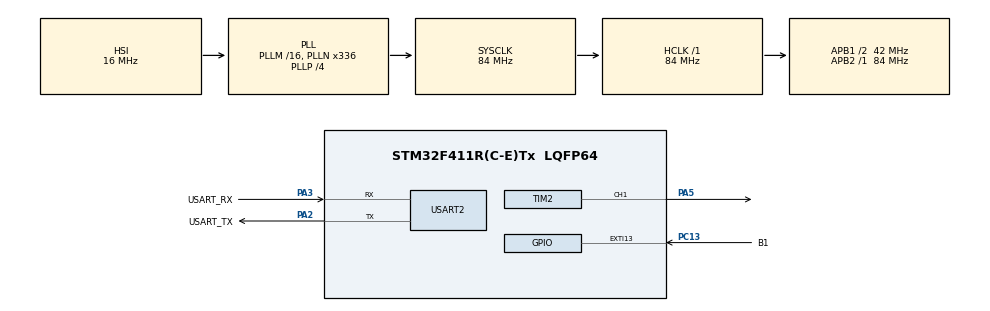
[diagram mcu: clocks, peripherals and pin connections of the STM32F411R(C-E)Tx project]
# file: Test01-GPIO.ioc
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Mcu.Family=STM32F4
Mcu.Name=STM32F411R(C-E)Tx
Mcu.Package=LQFP64
NVIC.EXTI15_10_IRQn=true\:0\:0\:false\:false\:true\:true\:true\:true
NVIC.PriorityGroup=NVIC_PRIORITYGROUP_0
NVIC.TIM3_IRQn=true\:0\:0\:false\:false\:true\:true\:true\:true
PA13.GPIO_Label=TMS
PA13.Mode=Serial_Wire
PA13.Signal=SYS_JTMS-SWDIO
PA14.GPIO_Label=TCK
PA14.Mode=Serial_Wire
PA14.Signal=SYS_JTCK-SWCLK
PA2.GPIO_Label=USART_TX
PA2.Mode=Asynchronous
PA2.Signal=USART2_TX
PA3.GPIO_Label=USART_RX
PA3.Mode=Asynchronous
PA3.Signal=USART2_RX
PA5.Signal=S_TIM2_CH1_ETR
PB3.GPIO_Label=SWO
PB3.Signal=SYS_JTDO-SWO
PC13-ANTI_TAMP.GPIO_Label=B1
PC13-ANTI_TAMP.GPIO_ModeDefaultEXTI=GPIO_MODE_IT_RISING_FALLING
PC13-ANTI_TAMP.Signal=GPXTI13
PC14-OSC32_IN.Mode=LSE-External-Oscillator
PC14-OSC32_IN.Signal=RCC_OSC32_IN
PC15-OSC32_OUT.Mode=LSE-External-Oscillator
PC15-OSC32_OUT.Signal=RCC_OSC32_OUT
PH0\ -\ OSC_IN.Mode=HSE-External-Clock-Source
PH0\ -\ OSC_IN.Signal=RCC_OSC_IN
PH1\ -\ OSC_OUT.Mode=HSE-External-Clock-Source
PH1\ -\ OSC_OUT.Signal=RCC_OSC_OUT
ProjectManager.HeapSize=0x200
ProjectManager.StackSize=0x400
ProjectManager.TargetToolchain=STM32CubeIDE
RCC.48MHZClocksFreq_Value=84000000
RCC.AHBFreq_Value=84000000
RCC.APB1CLKDivider=RCC_HCLK_DIV2
RCC.APB1Freq_Value=42000000
RCC.APB1TimFreq_Value=84000000
RCC.APB2Freq_Value=84000000
RCC.APB2TimFreq_Value=84000000
RCC.CortexFreq_Value=84000000
RCC.FLatency-AdvancedSettings=FLASH_LATENCY_2
RCC.HCLKFreq_Value=84000000
RCC.HSE_VALUE=8000000
RCC.HSI_VALUE=16000000
RCC.PLLN=336
RCC.PLLP=RCC_PLLP_DIV4
RCC.SYSCLKFreq_VALUE=84000000
RCC.SYSCLKSource=RCC_SYSCLKSOURCE_PLLCLK
RCC.VCOOutputFreq_Value=336000000
SH.S_TIM2_CH1_ETR.0=TIM2_CH1,PWM Generation1 CH1
TIM2.Channel-PWM\ Generation1\ CH1=TIM_CHANNEL_1
TIM2.Period=1000-1
TIM2.Prescaler=84-1
TIM3.Period=5000-1
TIM3.Prescaler=8400-1
TIM5.Prescaler=84-1
USART2.VirtualMode=VM_ASYNC
VP_TIM2_VS_ClockSourceINT.Mode=Internal
VP_TIM3_VS_ClockSourceINT.Mode=Internal
VP_TIM5_VS_ClockSourceINT.Mode=Internal
board=NUCLEO-F411RE

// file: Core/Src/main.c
/* USER CODE BEGIN Header */
/**
  ******************************************************************************
  * @file           : main.c
  * @brief          : Main program body
  ******************************************************************************
  * @attention
  *
  * Copyright (c) 2023 STMicroelectronics.
  * All rights reserved.
  *
  * This software is licensed under terms that can be found in the LICENSE file
  * in the root directory of this software component.
  * If no LICENSE file comes with this software, it is provided AS-IS.
  *
  ******************************************************************************
  */
/* USER CODE END Header */
#include "main.h"

TIM_HandleTypeDef htim2;
TIM_HandleTypeDef htim3;
TIM_HandleTypeDef htim5;

UART_HandleTypeDef huart2;

void SystemClock_Config(void);
static void MX_GPIO_Init(void);
static void MX_USART2_UART_Init(void);
static void MX_TIM3_Init(void);
static void MX_TIM5_Init(void);
static void MX_TIM2_Init(void);

/* USER CODE BEGIN 0 */
#define STEP 10
int val = 0; // off
int gap = 0;  //val 값에 따라서 AAR까지 도달하는 단계값
int flag = 1; // status 0~4
void HAL_GPIO_EXTI_Callback(uint16_t GPIO_Pin)
{
  //val = HAL_GPIO_ReadPin(B1_GPIO_Port,B1_Pin); // push? non-push?
  if(val++ > STEP) val=0;
  //if(val==0) val=0; else val = 1;
   //if(val == 0) val =1; else val = 0;
 // val++;
  // if(val++ >4) val =0; // val 0~5
 // flag=1;
}
int cnt=0;
void HAL_TIM_PeriodElapsedCallback(TIM_HandleTypeDef *htim)
{
  //HAL_GPIO_TogglePin(LD2_GPIO_Port, LD2_Pin);
  printf("\033[10;30HTimer3...%d\n", cnt++); // whenever interrupt is begin
  //myDelay(10000);
  //HAL_Delay(200);
  //HAL_GPIO_WritePin(LD2_GPIO_Port, LD2_Pin,0);
}

void myDelay(int interval) // microsecond delay, interval: microsecond
{
  //volatile int start = htim5.Instance -> CNT;
  htim5.Instance -> CNT=0;
  while(1)
  {
    volatile int cur = htim5.Instance -> CNT;
    //int cur = htim5.Instance -> CNT; // 4000/60 = 1 hour
    if(htim5.Instance -> CNT> interval) return; // ~~delay
  }
  //return;
}

int __io_putchar(int ch)
{
  HAL_UART_Transmit(&huart2, &ch, 1, 10);
  //HAL_StatusTypeDef HAL_UART_Transmit(UART_HandleTypeDef *huart, const uint8_t *pData, uint16_t Size, uint32_t Timeout)
  return ch;
}

//int __io_getchar(void);

/* USER CODE END 0 */

int main(void)
{

  /* MCU Configuration--------------------------------------------------------*/

  /* Reset of all peripherals, Initializes the Flash interface and the Systick. */
  HAL_Init();

  /* Configure the system clock */
  SystemClock_Config();

  /* Initialize all configured peripherals */
  MX_GPIO_Init();
  MX_USART2_UART_Init();
  MX_TIM3_Init();
  MX_TIM5_Init();
  MX_TIM2_Init();
  /* USER CODE BEGIN 2 */

  printf("\033[1JProgram started...!\r\n",0x1b);
 // HAL_TIM_Base_Start_IT(&htim3);
  gap = htim2.Instance->ARR/STEP; // STEP =10 상수를 프로그램 안으로 들어가지 않게 하는 게 좋음. 유지보수할때
 HAL_TIM_Base_Start(&htim5);
  HAL_TIM_PWM_Start(&htim2,TIM_CHANNEL_1);
  /* USER CODE END 2 */

  /* Infinite loop */
  /* USER CODE BEGIN WHILE */
  int ccr =0;

  while (1)
  {
    /* USER CODE END WHILE */

    /* USER CODE BEGIN 3 */

    htim2.Instance->CCR1= val*gap;
    //if(val>STEP) val =0;
    //if(ccr > htim2.Instance->ARR) ccr =0;
    //myDelay(10000);
    //myDelay(2000000);
    //int r = HAL_GPIO_ReadPin(B1_GPIO_Port,B1_Pin);
    //if(val == 0) for (int i=0; i<val;i++)//button pushed
   // {
  // HAL_GPIO_TogglePin(LD2_GPIO_Port,LD2_Pin); //led on
   // HAL_Delay(200); //1sec 3
  // HAL_GPIO_WritePin(LD2_GPIO_Port,LD2_Pin,0); //led off
  //  HAL_Delay(200);
  // flag = 0;
  //  }
  // else
  //  HAL_GPIO_WritePin(LD2_GPIO_Port,LD2_Pin,0);

  }
  /* USER CODE END 3 */
}

void SystemClock_Config(void)
{
  RCC_OscInitTypeDef RCC_OscInitStruct = {0};
  RCC_ClkInitTypeDef RCC_ClkInitStruct = {0};

  /** Configure the main internal regulator output voltage
  */
  __HAL_RCC_PWR_CLK_ENABLE();
  __HAL_PWR_VOLTAGESCALING_CONFIG(PWR_REGULATOR_VOLTAGE_SCALE1);

  /** Initializes the RCC Oscillators according to the specified parameters
  * in the RCC_OscInitTypeDef structure.
  */
  RCC_OscInitStruct.OscillatorType = RCC_OSCILLATORTYPE_HSI;
  RCC_OscInitStruct.HSIState = RCC_HSI_ON;
  RCC_OscInitStruct.HSICalibrationValue = RCC_HSICALIBRATION_DEFAULT;
  RCC_OscInitStruct.PLL.PLLState = RCC_PLL_ON;
  RCC_OscInitStruct.PLL.PLLSource = RCC_PLLSOURCE_HSI;
  RCC_OscInitStruct.PLL.PLLM = 16;
  RCC_OscInitStruct.PLL.PLLN = 336;
  RCC_OscInitStruct.PLL.PLLP = RCC_PLLP_DIV4;
  RCC_OscInitStruct.PLL.PLLQ = 4;
  if (HAL_RCC_OscConfig(&RCC_OscInitStruct) != HAL_OK)
  {
    Error_Handler();
  }

  /** Initializes the CPU, AHB and APB buses clocks
  */
  RCC_ClkInitStruct.ClockType = RCC_CLOCKTYPE_HCLK|RCC_CLOCKTYPE_SYSCLK
                              |RCC_CLOCKTYPE_PCLK1|RCC_CLOCKTYPE_PCLK2;
  RCC_ClkInitStruct.SYSCLKSource = RCC_SYSCLKSOURCE_PLLCLK;
  RCC_ClkInitStruct.AHBCLKDivider = RCC_SYSCLK_DIV1;
  RCC_ClkInitStruct.APB1CLKDivider = RCC_HCLK_DIV2;
  RCC_ClkInitStruct.APB2CLKDivider = RCC_HCLK_DIV1;

  if (HAL_RCC_ClockConfig(&RCC_ClkInitStruct, FLASH_LATENCY_2) != HAL_OK)
  {
    Error_Handler();
  }
}

static void MX_TIM2_Init(void)
{

  TIM_ClockConfigTypeDef sClockSourceConfig = {0};
  TIM_MasterConfigTypeDef sMasterConfig = {0};
  TIM_OC_InitTypeDef sConfigOC = {0};

  htim2.Instance = TIM2;
  htim2.Init.Prescaler = 84-1;
  htim2.Init.CounterMode = TIM_COUNTERMODE_UP;
  htim2.Init.Period = 1000;
  htim2.Init.ClockDivision = TIM_CLOCKDIVISION_DIV1;
  htim2.Init.AutoReloadPreload = TIM_AUTORELOAD_PRELOAD_DISABLE;
  if (HAL_TIM_Base_Init(&htim2) != HAL_OK)
  {
    Error_Handler();
  }
  sClockSourceConfig.ClockSource = TIM_CLOCKSOURCE_INTERNAL;
  if (HAL_TIM_ConfigClockSource(&htim2, &sClockSourceConfig) != HAL_OK)
  {
    Error_Handler();
  }
  if (HAL_TIM_PWM_Init(&htim2) != HAL_OK)
  {
    Error_Handler();
  }
  sMasterConfig.MasterOutputTrigger = TIM_TRGO_RESET;
  sMasterConfig.MasterSlaveMode = TIM_MASTERSLAVEMODE_DISABLE;
  if (HAL_TIMEx_MasterConfigSynchronization(&htim2, &sMasterConfig) != HAL_OK)
  {
    Error_Handler();
  }
  sConfigOC.OCMode = TIM_OCMODE_PWM1;
  sConfigOC.Pulse = 0;
  sConfigOC.OCPolarity = TIM_OCPOLARITY_HIGH;
  sConfigOC.OCFastMode = TIM_OCFAST_DISABLE;
  if (HAL_TIM_PWM_ConfigChannel(&htim2, &sConfigOC, TIM_CHANNEL_1) != HAL_OK)
  {
    Error_Handler();
  }
  HAL_TIM_MspPostInit(&htim2);

}

static void MX_TIM3_Init(void)
{

  TIM_ClockConfigTypeDef sClockSourceConfig = {0};
  TIM_MasterConfigTypeDef sMasterConfig = {0};

  htim3.Instance = TIM3;
  htim3.Init.Prescaler = 8400-1;
  htim3.Init.CounterMode = TIM_COUNTERMODE_UP;
  htim3.Init.Period = 5000-1;
  htim3.Init.ClockDivision = TIM_CLOCKDIVISION_DIV1;
  htim3.Init.AutoReloadPreload = TIM_AUTORELOAD_PRELOAD_DISABLE;
  if (HAL_TIM_Base_Init(&htim3) != HAL_OK)
  {
    Error_Handler();
  }
  sClockSourceConfig.ClockSource = TIM_CLOCKSOURCE_INTERNAL;
  if (HAL_TIM_ConfigClockSource(&htim3, &sClockSourceConfig) != HAL_OK)
  {
    Error_Handler();
  }
  sMasterConfig.MasterOutputTrigger = TIM_TRGO_RESET;
  sMasterConfig.MasterSlaveMode = TIM_MASTERSLAVEMODE_DISABLE;
  if (HAL_TIMEx_MasterConfigSynchronization(&htim3, &sMasterConfig) != HAL_OK)
  {
    Error_Handler();
  }

}

static void MX_TIM5_Init(void)
{

  TIM_ClockConfigTypeDef sClockSourceConfig = {0};
  TIM_MasterConfigTypeDef sMasterConfig = {0};

  htim5.Instance = TIM5;
  htim5.Init.Prescaler = 84-1;
  htim5.Init.CounterMode = TIM_COUNTERMODE_UP;
  htim5.Init.Period = 4294967295;
  htim5.Init.ClockDivision = TIM_CLOCKDIVISION_DIV1;
  htim5.Init.AutoReloadPreload = TIM_AUTORELOAD_PRELOAD_DISABLE;
  if (HAL_TIM_Base_Init(&htim5) != HAL_OK)
  {
    Error_Handler();
  }
  sClockSourceConfig.ClockSource = TIM_CLOCKSOURCE_INTERNAL;
  if (HAL_TIM_ConfigClockSource(&htim5, &sClockSourceConfig) != HAL_OK)
  {
    Error_Handler();
  }
  sMasterConfig.MasterOutputTrigger = TIM_TRGO_RESET;
  sMasterConfig.MasterSlaveMode = TIM_MASTERSLAVEMODE_DISABLE;
  if (HAL_TIMEx_MasterConfigSynchronization(&htim5, &sMasterConfig) != HAL_OK)
  {
    Error_Handler();
  }

}

static void MX_USART2_UART_Init(void)
{

  huart2.Instance = USART2;
  huart2.Init.BaudRate = 115200;
  huart2.Init.WordLength = UART_WORDLENGTH_8B;
  huart2.Init.StopBits = UART_STOPBITS_1;
  huart2.Init.Parity = UART_PARITY_NONE;
  huart2.Init.Mode = UART_MODE_TX_RX;
  huart2.Init.HwFlowCtl = UART_HWCONTROL_NONE;
  huart2.Init.OverSampling = UART_OVERSAMPLING_16;
  if (HAL_UART_Init(&huart2) != HAL_OK)
  {
    Error_Handler();
  }

}

static void MX_GPIO_Init(void)
{
  GPIO_InitTypeDef GPIO_InitStruct = {0};

  /* GPIO Ports Clock Enable */
  __HAL_RCC_GPIOC_CLK_ENABLE();
  __HAL_RCC_GPIOH_CLK_ENABLE();
  __HAL_RCC_GPIOA_CLK_ENABLE();
  __HAL_RCC_GPIOB_CLK_ENABLE();

  /*Configure GPIO pin : B1_Pin */
  GPIO_InitStruct.Pin = B1_Pin;
  GPIO_InitStruct.Mode = GPIO_MODE_IT_RISING_FALLING;
  GPIO_InitStruct.Pull = GPIO_NOPULL;
  HAL_GPIO_Init(B1_GPIO_Port, &GPIO_InitStruct);

  /* EXTI interrupt init*/
  HAL_NVIC_SetPriority(EXTI15_10_IRQn, 0, 0);
  HAL_NVIC_EnableIRQ(EXTI15_10_IRQn);

}

void Error_Handler(void)
{
  __disable_irq();
  while (1)
  {
  }
}
